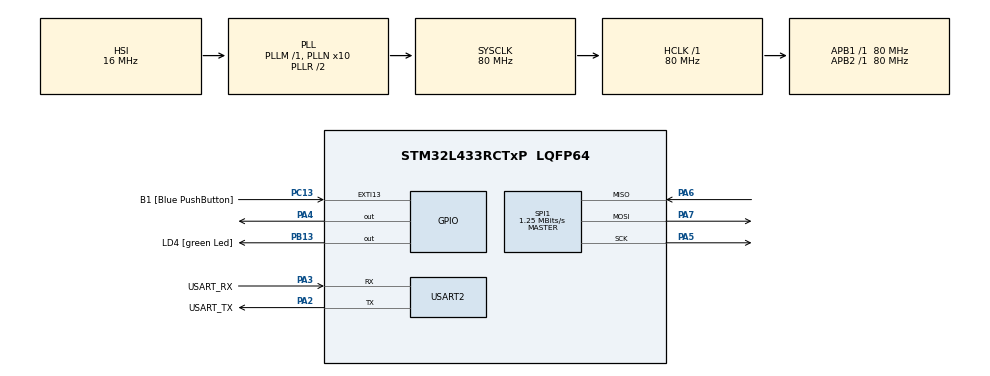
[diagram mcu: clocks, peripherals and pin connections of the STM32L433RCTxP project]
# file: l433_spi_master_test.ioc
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Mcu.Family=STM32L4
Mcu.Name=STM32L433RCTxP
Mcu.Package=LQFP64
NVIC.PriorityGroup=NVIC_PRIORITYGROUP_4
PA13\ (JTMS-SWDIO).GPIO_Label=TMS
PA13\ (JTMS-SWDIO).Mode=Serial_Wire
PA13\ (JTMS-SWDIO).Signal=SYS_JTMS-SWDIO
PA14\ (JTCK-SWCLK).GPIO_Label=TCK
PA14\ (JTCK-SWCLK).Mode=Serial_Wire
PA14\ (JTCK-SWCLK).Signal=SYS_JTCK-SWCLK
PA2.GPIO_Label=USART_TX
PA2.GPIO_Mode=GPIO_MODE_AF_PP
PA2.GPIO_PuPd=GPIO_NOPULL
PA2.GPIO_Speed=GPIO_SPEED_FREQ_VERY_HIGH
PA2.Mode=Asynchronous
PA2.Signal=USART2_TX
PA3.GPIO_Label=USART_RX
PA3.GPIO_Mode=GPIO_MODE_AF_PP
PA3.GPIO_PuPd=GPIO_NOPULL
PA3.GPIO_Speed=GPIO_SPEED_FREQ_VERY_HIGH
PA3.Mode=Asynchronous
PA3.Signal=USART2_RX
PA4.Signal=GPIO_Output
PA5.Mode=Full_Duplex_Master
PA5.Signal=SPI1_SCK
PA6.Mode=Full_Duplex_Master
PA6.Signal=SPI1_MISO
PA7.Mode=Full_Duplex_Master
PA7.Signal=SPI1_MOSI
PB13.GPIO_Label=LD4 [green Led]
PB13.Signal=GPIO_Output
PB3\ (JTDO-TRACESWO).GPIO_Label=SWO
PB3\ (JTDO-TRACESWO).Signal=SYS_JTDO-SWO
PC13.GPIO_Label=B1 [Blue PushButton]
PC13.GPIO_ModeDefaultEXTI=GPIO_MODE_IT_FALLING
PC13.GPIO_PuPd=GPIO_NOPULL
PC13.Signal=GPXTI13
PC14-OSC32_IN\ (PC14).Mode=LSE-External-Oscillator
PC14-OSC32_IN\ (PC14).Signal=RCC_OSC32_IN
PC15-OSC32_OUT\ (PC15).Mode=LSE-External-Oscillator
PC15-OSC32_OUT\ (PC15).Signal=RCC_OSC32_OUT
PH0-OSC_IN\ (PH0).GPIO_Label=MCO
PH0-OSC_IN\ (PH0).Mode=HSE-External-Clock-Source
PH0-OSC_IN\ (PH0).Signal=RCC_OSC_IN
PH1-OSC_OUT\ (PH1).Signal=RCC_OSC_OUT
ProjectManager.HeapSize=0x200
ProjectManager.StackSize=0x400
ProjectManager.TargetToolchain=STM32CubeIDE
RCC.ADCFreq_Value=64000000
RCC.AHBFreq_Value=80000000
RCC.APB1Freq_Value=80000000
RCC.APB1TimFreq_Value=80000000
RCC.APB2Freq_Value=80000000
RCC.APB2TimFreq_Value=80000000
RCC.CortexFreq_Value=80000000
RCC.HCLKFreq_Value=80000000
RCC.HSE_VALUE=8000000
RCC.HSI48_VALUE=48000000
RCC.HSI_VALUE=16000000
RCC.MSI_VALUE=4000000
RCC.PLLN=10
RCC.PLLSourceVirtual=RCC_PLLSOURCE_HSI
RCC.PREFETCH_ENABLE=1
RCC.SYSCLKFreq_VALUE=80000000
RCC.SYSCLKSource=RCC_SYSCLKSOURCE_PLLCLK
RCC.USBFreq_Value=64000000
RCC.VCOOutputFreq_Value=160000000
SPI1.BaudRatePrescaler=SPI_BAUDRATEPRESCALER_64
SPI1.CLKPhase=SPI_PHASE_2EDGE
SPI1.CLKPolarity=SPI_POLARITY_HIGH
SPI1.CalculateBaudRate=1.25 MBits/s
SPI1.DataSize=SPI_DATASIZE_8BIT
SPI1.Direction=SPI_DIRECTION_2LINES
SPI1.Mode=SPI_MODE_MASTER
SPI1.VirtualType=VM_MASTER
USART2.VirtualMode-Asynchronous=VM_ASYNC
board=NUCLEO-L433RC-P

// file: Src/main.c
/* USER CODE BEGIN Header */
/**
  ******************************************************************************
  * @file           : main.c
  * @brief          : Main program body
  ******************************************************************************
  * @attention
  *
  * Copyright (c) 2026 STMicroelectronics.
  * All rights reserved.
  *
  * This software is licensed under terms that can be found in the LICENSE file
  * in the root directory of this software component.
  * If no LICENSE file comes with this software, it is provided AS-IS.
  *
  ******************************************************************************
  */
/* TESTING */
/* IN WORK SPACE */

/* USER CODE END Header */
#include "main.h"
#include "spi.h"
#include "usart.h"
#include "gpio.h"

/* USER CODE BEGIN Includes */
#include <string.h>
#include <stdio.h>
/* USER CODE END Includes */

/* USER CODE BEGIN PD */

// Select Test Mode
#define MODE_PATTERN_1		(1)			// TX/RX Pattern to verify SPI TX/RS
#define MODE_READ_BITMAP	(2)			// Wait INT then read Bitmap
#define MODE_LOOP_1			(3)			// Read/Change Loop Test
#define MODE_LOOP_RAW		(4)			// Change To  RAW then keeping read

//#define MODE_SIMPLE_LOOP	(4)

#define TEST_MODE		(MODE_READ_BITMAP)

#define TRIGGER_SOURCE_INT		0	//	0:INT, 1:Timer
#define TRIGGER_SOURCE_TIMER	1
#define TRIGGER_BY				TRIGGER_SOURCE_INT

#define TEST_MODE_READ			0
#define TEST_MODE_CHANGE		1

#define TEST_MODE_WRITE     	3
#define MAX_TEST_MODE       	4
#define MAX_TEST_COMMAND       	5

#define TEST_READ_LOOP			10

#define SPI_FRAME_8       		8
#define SPI_FRAME_32       		32
#define SPI_MAX_FRAME       SPI_FRAME_32
/* USER CODE END PD */

/* USER CODE BEGIN PV */
static uint8_t tx_buf[SPI_MAX_FRAME] __attribute__((aligned(4))) =
{
    0xFF, 0x7F, 0x3F, 0x1F, 0x0F, 0x07, 0x03, 0x01
};

static uint8_t rx_buf[SPI_MAX_FRAME];

volatile uint8_t g_int_pending = 0;
volatile uint8_t g_btn_pending = 0;
volatile uint8_t g_test_mode = TEST_MODE_READ;
volatile uint8_t g_test_count = 0;

volatile uint8_t g_change_mode = 0;

volatile uint8_t g_current_len = SPI_FRAME_8;

static uint8_t loop_count  = 0xF8;
static uint8_t write_count = 0x00;
/* USER CODE END PV */

void SystemClock_Config(void);
/* USER CODE BEGIN PFP */
static void SPI_CS_Low(void);
static void SPI_CS_High(void);
static void delay_us(uint32_t us);
static HAL_StatusTypeDef SPI_Exchange(uint8_t *tx, uint8_t *rx, uint16_t len);
static void dump_buf(const char *tag, const uint8_t *buf, uint16_t len);

static void SPI_Test_Mode_Read(void);
static void SPI_Test_Mode_Write(void);
static void SPI_Test_Mode(uint8_t mode);

//static void dump_x8_hex_uint16(const char *tag, const uint16_t buf);
static void dumphex_x8_uint8(const char *tag, const uint8_t* buf);
static void dumphex_x8_uint16(const char *tag, const uint16_t* buf);

static void dump_buf(const char *tag, const uint8_t *buf, uint16_t len);

static void dumphex_raw(const uint16_t* raw);

/* USER CODE END PFP */

/* USER CODE BEGIN 0 */
int __io_putchar(int ch)
{
    HAL_UART_Transmit(&huart2, (uint8_t *)&ch, 1, HAL_MAX_DELAY);
    return ch;
}

static void SPI_CS_Low(void)
{
    HAL_GPIO_WritePin(GPIOA, GPIO_PIN_4, GPIO_PIN_RESET);
}

static void SPI_CS_High(void)
{
    HAL_GPIO_WritePin(GPIOA, GPIO_PIN_4, GPIO_PIN_SET);
}

static void delay_us(uint32_t us)
{
    /*
     * Simple busy-loop delay for SPI timing debug.
     * This is not precise, but good enough for setup/hold margin testing.
     */
    uint32_t count = us * (SystemCoreClock / 1000000U / 5U);
    while (count--)
    {
        __NOP();
    }
}

static HAL_StatusTypeDef SPI_Exchange(uint8_t *tx, uint8_t *rx, uint16_t len)
{
    HAL_StatusTypeDef ret;

    SPI_CS_High();
    delay_us(1);

    SPI_CS_Low();

    /* Give slave some setup time after CS goes low */
    delay_us(1);

    ret = HAL_SPI_TransmitReceive(&hspi1, tx, rx, len, 1000);

    /* Wait until SPI is truly idle before releasing CS */
    while (__HAL_SPI_GET_FLAG(&hspi1, SPI_FLAG_BSY))
    {
    }

    /* Small hold time before CS high */
    delay_us(1);

    SPI_CS_High();

    return ret;
}

static void dump_buf(const char *tag, const uint8_t *buf, uint16_t len)
{
    uint16_t i;

    printf("%s", tag);
    for (i = 0; i < len; i++)
    {
        printf("%02X", buf[i]);
        if (i != (len - 1))
        {
            printf(" ");
        }
    }
    printf("\r\n");
}

static void dumphex_x8_uint8(const char *tag, const uint8_t* buf)
{
    printf("[%s] %02X,%02X,%02X,%02X,%02X,%02X,%02X,%02X\r\n",
    		tag,
			buf[0],
			buf[1],
			buf[2],
			buf[3],
			buf[4],
			buf[5],
			buf[6],
			buf[7]
			);
}

static void dumphex_x8_uint16(const char *tag, const uint16_t* buf)
{
    printf("[%s] %04X,%04X,%04X,%04X,%04X,%04X,%04X,%04X\r\n",
    		tag,
			buf[0],
			buf[1],
			buf[2],
			buf[3],
			buf[4],
			buf[5],
			buf[6],
			buf[7]
			);
}

static void dumphex_x16_uint16(const char *tag, const uint16_t* buf)
{
    printf("[%s] %04X,%04X,%04X,%04X,%04X,%04X,%04X,%04X\r\n%04X,%04X,%04X,%04X,%04X,%04X,%04X,%04X\r\n",
    		tag,
			buf[0],
			buf[1],
			buf[2],
			buf[3],
			buf[4],
			buf[5],
			buf[6],
			buf[7],
			buf[8],
			buf[9],
			buf[10],
			buf[11],
			buf[12],
			buf[13],
			buf[14],
			buf[15]
			);
}

static void dumphex_raw(const uint16_t* raw)
{
	printf("RAW[0] %04X,%04X,%04X,%04X,%04X,%04X,%04X,%04X\r\n",
			raw[0],
			raw[1],
			raw[2],
			raw[3],
			raw[4],
			raw[5],
			raw[6],
			raw[7]
		);

	printf("RAW[0] %04X,%04X,%04X,%04X,%04X,%04X,%04X,%04X\r\n",
			raw[8],
			raw[9],
			raw[10],
			raw[11],
			raw[12],
			raw[13],
			raw[14],
			raw[15]
		);
}

static void SPI_Test_Pattern_1(void)
{
    HAL_StatusTypeDef ret;
    const uint16_t len = SPI_FRAME_8;

	tx_buf[0] = 0x12;
	tx_buf[1] = 0x34;
	tx_buf[2] = 0x56;
	tx_buf[3] = 0x78;
	tx_buf[4] = 0x9A;
	tx_buf[5] = 0xBC;
	tx_buf[6] = 0xDE;
	tx_buf[7] = 0xF0;

    memset(rx_buf, 0, sizeof(rx_buf));

	ret = SPI_Exchange(tx_buf, rx_buf, len);

	if  ( ret != HAL_OK)
		printf("Error , ret = %d\r\n", ret);

	dumphex_x8_uint8("TX1", tx_buf);
	dumphex_x8_uint8("RX1", rx_buf);
    printf("\r\n");
}

static void SPI_Test_Read(uint8_t len )
{
    memset(tx_buf, 0x00, sizeof(tx_buf));
    memset(rx_buf, 0x00, sizeof(rx_buf));

	SPI_Exchange(tx_buf, rx_buf, len);
}

static void SPI_Test_Read_Bitmap(void)
{
	SPI_Test_Read(8);
	printf("%s\r\n", __FUNCTION__);
	dumphex_x8_uint8("08", rx_buf);
}

static void SPI_Test_Read_RAW(void)
{
	SPI_Test_Read(32);
	printf("%s\r\n", __FUNCTION__);

	dumphex_x16_uint16("20",(uint16_t*) &rx_buf[0]);
}

static void SPI_Command(uint8_t len, uint8_t* buf)
{
    HAL_StatusTypeDef ret;

    memset(rx_buf, 0x00, sizeof(rx_buf));
    memcpy(tx_buf,buf,len);

    printf("CMD %02x,%02x,%02x,%02x,%02x,%02x,%02x,%02x\r\n",
    	buf[0],
    	buf[1],
    	buf[2],
    	buf[3],
    	buf[4],
    	buf[5],
    	buf[6],
    	buf[7]
    );

    ret = SPI_Exchange(tx_buf, rx_buf, len);
}

static void SPI_Test_Mode_Change(uint8_t len)
{
    printf("%s\r\n", __FUNCTION__);

    uint8_t command[SPI_MAX_FRAME] = {0xA0,0x4C,0x45,0x4E,0x00,0x00,0x00,0x00};
    command[4] = len;
    command[5] = command[0] + command[1] + command[2] + command[3] +command[4];

    if (g_current_len == len)
    {
    	printf("Already %d byte mode", g_current_len);
    	return;
    }

    memset(rx_buf, 0x00, sizeof(rx_buf));
    memset(tx_buf, 0x00, sizeof(rx_buf));
    memcpy(tx_buf,&command[0],sizeof(command));

	SPI_Exchange(tx_buf, rx_buf, g_current_len);
    dump_buf("TX: ", tx_buf, g_current_len);
    dump_buf("RX: ", rx_buf, g_current_len);
    printf("\r\n");

    g_current_len = len;

}

static void SPI_Test_Mode_Write(void)
{
    HAL_StatusTypeDef ret;
    const uint16_t len = SPI_FRAME_8;

    /*
     * Fixed write pattern for slave verification
     */
    tx_buf[0] = 0x80;
    tx_buf[1] = 0x40;
    tx_buf[2] = 0x20;
    tx_buf[3] = 0x10;
    tx_buf[4] = 0x08;
    tx_buf[5] = 0x04;
    tx_buf[6] = 0x02;
    tx_buf[7] = write_count++;

    memset(rx_buf, 0x00, sizeof(rx_buf));

    ret = SPI_Exchange(tx_buf, rx_buf, len);

    printf("WRITE ret=%d\r\n", ret);
    dump_buf("TX: ", tx_buf, len);
    dump_buf("RX: ", rx_buf, len);
    printf("\r\n");
}

int pattern_lopp = 0;

uint8_t test_pattern[][8] = {
    {0xFF, 0xFF, 0xFF, 0xFF, 0xFF, 0xFF, 0xFF, 0xFF},
	{0xA0, 0x4C, 0x45, 0x4E, 0x20, 0x9F, 0x00, 0x00},
    {0x80, 0x40, 0x20, 0x10, 0x08, 0x04, 0x02, 0x01},
    {0x80, 0x40, 0x20, 0x10, 0x08, 0x04, 0x02, 0x02},
    {0x80, 0x40, 0x20, 0x10, 0x08, 0x04, 0x02, 0x04},
    {0x80, 0x40, 0x20, 0x10, 0x08, 0x04, 0x02, 0x08},
    {0x80, 0x40, 0x20, 0x10, 0x08, 0x04, 0x02, 0x10},
    {0x80, 0x40, 0x20, 0x10, 0x08, 0x04, 0x02, 0x20},
    {0x80, 0x40, 0x20, 0x10, 0x08, 0x04, 0x02, 0x40},
    {0x80, 0x40, 0x20, 0x10, 0x08, 0x04, 0x02, 0x80},
    {0x80, 0x40, 0x20, 0x10, 0x08, 0x04, 0x02, 0x55},
    {0x80, 0x40, 0x20, 0x10, 0x08, 0x04, 0x02, 0xAA},
    {0x80, 0x40, 0x20, 0x10, 0x08, 0x04, 0x02, 0xC0},
    {0x80, 0x40, 0x20, 0x10, 0x08, 0x04, 0x02, 0xC1},
    {0x80, 0x40, 0x20, 0x10, 0x08, 0x04, 0x02, 0xC2},
    {0x80, 0x40, 0x20, 0x10, 0x08, 0x04, 0x02, 0xC3},
    {0x55, 0x55, 0x55, 0x55, 0x55, 0x55, 0x55, 0x55},
	{0x12, 0x34, 0x56, 0x78, 0x9A, 0xBC, 0xDE, 0xF0},
	{0xA5, 0x5A, 0x3C, 0xC3, 0x96, 0x69, 0xF0, 0x0F},

};

static void SPI_Test_Command(void)
{
    const uint16_t len = SPI_FRAME_8;

    memcpy(tx_buf, &test_pattern[pattern_lopp], 8);
    pattern_lopp ++;
    pattern_lopp %= 18;

	SPI_Exchange(tx_buf, rx_buf, len);

    dump_buf("TX() : ", tx_buf, len);
}

#define TEST_MODE_READ			0
#define TEST_MODE_CHANGE_8		1
#define TEST_MODE_CHANGE_32		2

static void SPI_Test_Mode(uint8_t mode)
{
	switch(mode)
	{
	case TEST_MODE_READ:
		SPI_Test_Mode_Read();
		break;
	case TEST_MODE_CHANGE_8:
		SPI_Test_Mode_Change(8);
		break;
	case TEST_MODE_CHANGE_32:
		SPI_Test_Mode_Change(32);
		break;
	case TEST_MODE_WRITE:
		SPI_Test_Mode_Write();
		break;
	case MAX_TEST_COMMAND:
		SPI_Test_Command();
		break;
    default:
        printf("Unknown mode %u, fallback to READ\r\n", mode);
 //       SPI_Test_Mode_Read();
        break;
    }
}

static void SPI_Test_Auto(void)
{
	switch(g_test_mode)
	{
	case TEST_MODE_READ:
		SPI_Test_Mode_Read();
		g_test_count ++;
		if ( g_test_count >= TEST_READ_LOOP)
		{
			g_test_mode = TEST_MODE_CHANGE;
			g_test_count = 0;
		}

		break;
	case TEST_MODE_CHANGE:
		if ( g_current_len == SPI_FRAME_8)
			SPI_Test_Mode_Change(SPI_FRAME_32);
		else
			SPI_Test_Mode_Change(SPI_FRAME_8);
		g_test_mode = TEST_MODE_READ;
		g_test_count = 0;
		break;

	case TEST_MODE_WRITE:
		SPI_Test_Mode_Write();
		break;
	case MAX_TEST_COMMAND:
		SPI_Test_Command();
		break;
    default:
        printf("Unknown mode \r\n");
 //       SPI_Test_Mode_Read();
        break;
    }
}

void HAL_GPIO_EXTI_Callback(uint16_t GPIO_Pin)
{
  if (GPIO_Pin == GPIO_PIN_8)
  {
#if (TRIGGER_BY == TRIGGER_SOURCE_INT)
	  g_int_pending = 1;
#endif

#if (TEST_MODE == MODE_READ_BITMAP)
	  printf("INT\r\n");
	  g_int_pending = 1;
#endif

#if (TEST_MODE == MODE_LOOP_1)
	  g_int_pending = 1;
#endif

#if (TEST_MODE == MODE_LOOP_RAW)
	  g_int_pending = 1;
#endif
  }

  if (GPIO_Pin == B1_Pin)
  {
	  g_btn_pending = 1;
	  printf("PC13 BTN\r\n");
      HAL_GPIO_TogglePin(LD4_GPIO_Port, LD4_Pin);
  }
}

/* USER CODE END 0 */

void   SPI1_Print_Prescale(void);
int main(void)
{

  /* MCU Configuration--------------------------------------------------------*/

  HAL_Init();

  /* Configure the system clock */
  SystemClock_Config();

  /* Initialize all configured peripherals */
  MX_GPIO_Init();
  MX_SPI1_Init();
  MX_USART2_UART_Init();
  /* USER CODE BEGIN 2 */
  SPI_CS_High();
  HAL_Delay(100);
  printf("STM32 SPI Master Online->\r\n");
  printf("SYSCLK = %lu\r\n", HAL_RCC_GetSysClockFreq());
  printf("HCLK   = %lu\r\n", HAL_RCC_GetHCLKFreq());
  printf("PCLK1  = %lu\r\n", HAL_RCC_GetPCLK1Freq());
  printf("PCLK2  = %lu\r\n", HAL_RCC_GetPCLK2Freq());
  /* USER CODE END 2 */
  SPI1_Print_Prescale();

#if (TEST_MODE == MODE_PATTERN_1)

  printf("TEST_MODE::MODE_PATTERN_1\r\n");
  printf("Send 0x 12 34 56 78 ....\r\n");
  printf("To check if slave can Tx/Rx properly\r\n\r\n");
  while (1)
  {
	  HAL_Delay(500);
	  SPI_Test_Pattern_1();
  }
#endif

#if (TEST_MODE == MODE_READ_BITMAP)

  printf("TEST_MODE::MODE_READ_BITMAP\r\n");
  printf("Send 0x 00 00 00 00 ....\r\n");
  printf("To check if slave can Send Key properly\r\n\r\n");

  while (1)
  {
	  if (g_int_pending )
	  {
         g_int_pending = 0;
         SPI_Test_Read_Bitmap();
	  }
  }
#endif

#if (TEST_MODE == MODE_LOOP_1)

  printf("TEST_MODE::MODE_LOOP_1\r\n");
  printf("Read Bitmap/Change to RAW/Read RAW/Change to Bitmap\r\n");
  printf("To check if slave can Send Key properly\r\n\r\n");

  #define MAX_READ	10
  int read_loop = 0;
  int stage = 0;

  uint8_t command_raw[] =
  {0xA0,0x4C,0x45,0x4E,0x20,0x9F,0x00,0x00};
  uint8_t command_bmp[] =
  {
	0xA0,0x4C,0x45,0x4E,0x08,0x87,0x00,0x00,
	0x01,0x02,0x03,0x04,0x05,0x06,0x07,0x08,
	0x09,0x0A,0x0B,0x0C,0x0D,0x0E,0x0F,0x10,
	0x11,0x12,0x13,0x14,0x15,0x16,0x17,0x18,
  };

  uint8_t read_raw[] =
  {0x00,0x00,0x00,0x00,0x00,0x00,0x00,0x00};

  printf("STAGE LOOP Test\r\n");

  int paused = 0;

  while (1)
  {
	  switch (stage )
	  {
	  case 0:	// Read 10 bitamp
		  if (g_int_pending )
		  {
			  g_int_pending = 0;
			  SPI_Test_Read_Bitmap();
			  read_loop ++;
		  }
		  if ( read_loop >= MAX_READ)
		  {
			  read_loop = 0;
			  stage = 1;
		  }
		  break;
	  case 1:	// Change to RAW
		  printf("Command Change to RAW\r\n");
		  SPI_Command(8,command_raw );
		  stage = 2;
		  break;
	  case 2:	// Read 10 RAW
		  if (g_int_pending )
		  {
			  g_int_pending = 0;
			  SPI_Test_Read_RAW();
			  read_loop ++;
		  }
		  if ( read_loop >= MAX_READ)
		  {
			  read_loop = 0;
			  stage = 3;
		  }
		  break;
	  case 3:	// Change to Bitmap
		  printf("Command Change to Bitmap\r\n");
		  SPI_Command(32,command_bmp );

//		  stage = 4;
 		  stage = 0;
		  printf("STAGE Read Bitmap\r\n");
		  break;
	  default:
		  if ( !paused)
		  {
			  paused = 1;
			  printf("PAUSE\r\n");
		  }
		  break;
	  }
  }
#endif

#if (TEST_MODE == MODE_LOOP_RAW)

  printf("TEST_MODE::MODE_LOOP_RAW\r\n");
  printf("Read Bitmap/Change to RAW then read dump\r\n");

  #define MAX_READ	10
  int read_loop = 0;
  int stage = 0;

  uint8_t command_raw[] =
  {0xA0,0x4C,0x45,0x4E,0x20,0x9F,0x00,0x00};
  uint8_t command_bmp[] =
  {
	0xA0,0x4C,0x45,0x4E,0x08,0x87,0x00,0x00,
	0x01,0x02,0x03,0x04,0x05,0x06,0x07,0x08,
	0x09,0x0A,0x0B,0x0C,0x0D,0x0E,0x0F,0x10,
	0x11,0x12,0x13,0x14,0x15,0x16,0x17,0x18,
  };

  uint8_t read_raw[] =
  {	0x00,0x00,0x00,0x00,0x00,0x00,0x00,0x00,
	0x00,0x00,0x00,0x00,0x00,0x00,0x00,0x00,
  };

  printf("STAGE LOOP 2 (RAW)Test\r\n");

  int paused = 0;

  while (1)
  {
	  switch (stage )
	  {
	  case 0:	// Read 10 bitamp
		  if (g_int_pending )
		  {
			  g_int_pending = 0;
			  SPI_Test_Read_Bitmap();
			  read_loop ++;
		  }
		  if ( read_loop >= MAX_READ)
		  {
			  read_loop = 0;
			  stage = 1;
		  }
		  break;
	  case 1:	// Change to RAW
		  printf("Command Change to RAW\r\n");
		  SPI_Command(8,command_raw );
		  stage = 2;
		  break;
	  case 2:	// Read 10 RAW
		  if (g_int_pending )
		  {
			  g_int_pending = 0;
			  SPI_Test_Read_RAW();
			  read_loop ++;
		  }
		  break;
	  default:
		  if ( !paused)
		  {
			  paused = 1;
			  printf("PAUSE\r\n");
		  }
		  break;
	  }
  }
#endif

#if 0

  HAL_Delay(5000);

  while (1)
  {

	  HAL_Delay(1000);

//	  SPI_Test_Auto();
	  SPI_Test();
  }

#else
  /* Infinite loop */
  /* USER CODE BEGIN WHILE */
  volatile uint8_t g_spi_busy = 0;
  while (1)
   {
#if (TRIGGER_BY == TRIGGER_SOURCE_TIMER)
	  HAL_Delay(500);
	  g_int_pending = 1;
#endif
	    if (g_int_pending && !g_spi_busy)
       {
           g_int_pending = 0;

           HAL_Delay(500);
           g_spi_busy = 1;
           /* optional: LED toggle for debug */
           HAL_GPIO_TogglePin(LD4_GPIO_Port, LD4_Pin);

           printf("INT\r\n");

           /* let slave settle a little after INT */
           delay_us(5);

           /* do exactly one SPI transaction per INT */
 //          SPI_Test();
           g_spi_busy = 0;
       }

       if (g_btn_pending)
       {
           g_btn_pending = 0;
           printf("BTN event\r\n");
       }
   }
#endif
  /* USER CODE END 3 */
}

void SystemClock_Config(void)
{
  RCC_OscInitTypeDef RCC_OscInitStruct = {0};
  RCC_ClkInitTypeDef RCC_ClkInitStruct = {0};

  /** Configure the main internal regulator output voltage
  */
  if (HAL_PWREx_ControlVoltageScaling(PWR_REGULATOR_VOLTAGE_SCALE1) != HAL_OK)
  {
    Error_Handler();
  }

  /** Initializes the RCC Oscillators according to the specified parameters
  * in the RCC_OscInitTypeDef structure.
  */
  RCC_OscInitStruct.OscillatorType = RCC_OSCILLATORTYPE_HSI;
  RCC_OscInitStruct.HSIState = RCC_HSI_ON;
  RCC_OscInitStruct.HSICalibrationValue = RCC_HSICALIBRATION_DEFAULT;
  RCC_OscInitStruct.PLL.PLLState = RCC_PLL_ON;
  RCC_OscInitStruct.PLL.PLLSource = RCC_PLLSOURCE_HSI;
  RCC_OscInitStruct.PLL.PLLM = 1;
  RCC_OscInitStruct.PLL.PLLN = 10;
  RCC_OscInitStruct.PLL.PLLP = RCC_PLLP_DIV7;
  RCC_OscInitStruct.PLL.PLLQ = RCC_PLLQ_DIV2;
  RCC_OscInitStruct.PLL.PLLR = RCC_PLLR_DIV2;
  if (HAL_RCC_OscConfig(&RCC_OscInitStruct) != HAL_OK)
  {
    Error_Handler();
  }

  /** Initializes the CPU, AHB and APB buses clocks
  */
  RCC_ClkInitStruct.ClockType = RCC_CLOCKTYPE_HCLK|RCC_CLOCKTYPE_SYSCLK
                              |RCC_CLOCKTYPE_PCLK1|RCC_CLOCKTYPE_PCLK2;
  RCC_ClkInitStruct.SYSCLKSource = RCC_SYSCLKSOURCE_PLLCLK;
  RCC_ClkInitStruct.AHBCLKDivider = RCC_SYSCLK_DIV1;
  RCC_ClkInitStruct.APB1CLKDivider = RCC_HCLK_DIV1;
  RCC_ClkInitStruct.APB2CLKDivider = RCC_HCLK_DIV1;

  if (HAL_RCC_ClockConfig(&RCC_ClkInitStruct, FLASH_LATENCY_4) != HAL_OK)
  {
    Error_Handler();
  }
}

void Error_Handler(void)
{
  __disable_irq();
  while (1)
  {
  }
}
